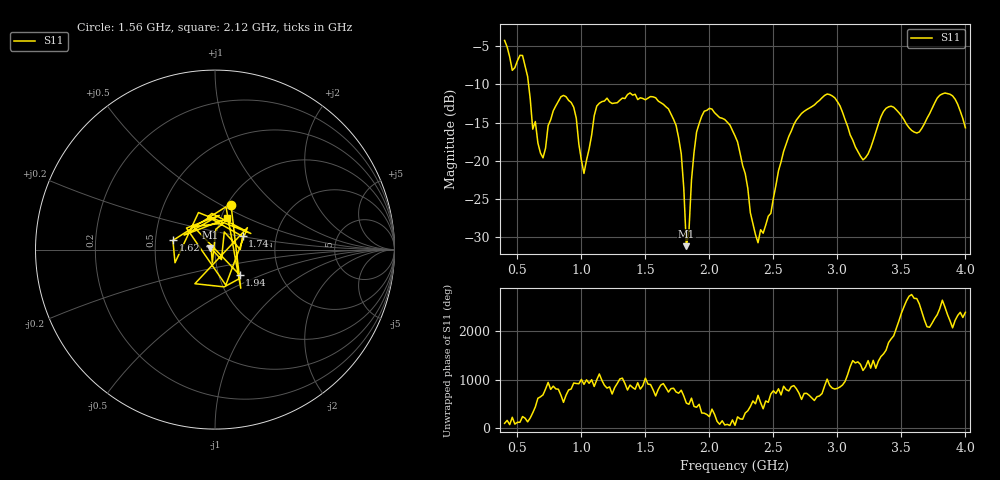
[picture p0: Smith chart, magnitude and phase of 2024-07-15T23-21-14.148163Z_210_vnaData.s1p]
!Created with skrf (http://scikit-rf.org).
# Hz S RI R 50.0
!freq ReS11 ImS11
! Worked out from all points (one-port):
!   181 points, 400 MHz to 4 GHz, reference 50 ohm
!   lowest |S11| = -31.2 dB at 1.82 GHz (marker M1), VSWR 1.06, Z = 47.5 + j0.978 ohm
!   |S11| at or under -10 dB: 587.1 MHz to end of sweep
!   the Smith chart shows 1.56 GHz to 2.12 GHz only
!   S11 on the Smith chart (normalised r, x): 1.56 GHz: 1.05, +0.55; 1.62 GHz: 0.62, +0.07; 1.74 GHz: 1.34, +0.20; 1.94 GHz: 1.26, -0.37; 2.12 GHz: 1.07, +0.39
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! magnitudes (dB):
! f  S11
! 400 MHz  -4.2
! 460 MHz  -8.2
! 540 MHz  -6.2
! 620 MHz  -15.9
! 700 MHz  -19.6
! 860 MHz  -11.4
! 940 MHz  -13.0
! 1.02 GHz  -21.7
! 1.12 GHz  -12.8
! 1.3 GHz  -12.1
! 1.56 GHz  -11.6
! 1.62 GHz  -12.4
! 1.74 GHz  -15.4
! 1.76 GHz  -17.0
! 1.82 GHz  -31.2
! 1.88 GHz  -18.9
! 1.94 GHz  -14.2
! 2.12 GHz  -14.6
! 2.2 GHz  -16.7
! 2.38 GHz  -30.7
! 2.66 GHz  -15.2
! 2.92 GHz  -11.3
! 3.1 GHz  -16.6
! 3.2 GHz  -19.9
! 3.38 GHz  -13.1
! 3.56 GHz  -15.7
! 3.84 GHz  -11.1
! 4 GHz  -15.7
